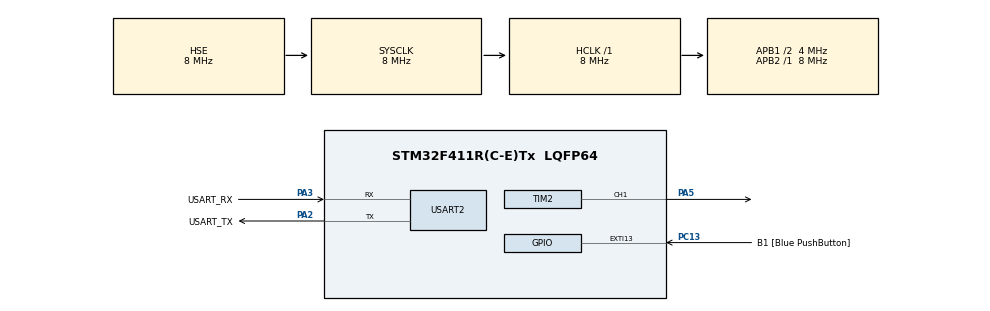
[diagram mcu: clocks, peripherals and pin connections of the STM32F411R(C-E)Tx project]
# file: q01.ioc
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Mcu.Family=STM32F4
Mcu.Name=STM32F411R(C-E)Tx
Mcu.Package=LQFP64
NVIC.PriorityGroup=NVIC_PRIORITYGROUP_0
PA13.GPIO_Label=TMS
PA13.Mode=Serial_Wire
PA13.Signal=SYS_JTMS-SWDIO
PA14.GPIO_Label=TCK
PA14.Mode=Serial_Wire
PA14.Signal=SYS_JTCK-SWCLK
PA2.GPIO_Label=USART_TX
PA2.Mode=Asynchronous
PA2.Signal=USART2_TX
PA3.GPIO_Label=USART_RX
PA3.Mode=Asynchronous
PA3.Signal=USART2_RX
PA5.Signal=S_TIM2_CH1_ETR
PB3.GPIO_Label=SWO
PB3.Signal=SYS_JTDO-SWO
PC13-ANTI_TAMP.GPIO_Label=B1 [Blue PushButton]
PC13-ANTI_TAMP.GPIO_ModeDefaultEXTI=GPIO_MODE_IT_FALLING
PC13-ANTI_TAMP.Signal=GPXTI13
PC14-OSC32_IN.Mode=LSE-External-Oscillator
PC14-OSC32_IN.Signal=RCC_OSC32_IN
PC15-OSC32_OUT.Mode=LSE-External-Oscillator
PC15-OSC32_OUT.Signal=RCC_OSC32_OUT
PH0\ -\ OSC_IN.Mode=HSE-External-Clock-Source
PH0\ -\ OSC_IN.Signal=RCC_OSC_IN
PH1\ -\ OSC_OUT.Mode=HSE-External-Clock-Source
PH1\ -\ OSC_OUT.Signal=RCC_OSC_OUT
ProjectManager.HeapSize=0x200
ProjectManager.StackSize=0x400
ProjectManager.TargetToolchain=STM32CubeIDE
RCC.48MHZClocksFreq_Value=42000000
RCC.AHBFreq_Value=8000000
RCC.APB1CLKDivider=RCC_HCLK_DIV2
RCC.APB1Freq_Value=4000000
RCC.APB1TimFreq_Value=8000000
RCC.APB2Freq_Value=8000000
RCC.APB2TimFreq_Value=8000000
RCC.CortexFreq_Value=8000000
RCC.FLatency-AdvancedSettings=FLASH_LATENCY_0
RCC.HCLKFreq_Value=8000000
RCC.HSE_VALUE=8000000
RCC.HSI_VALUE=16000000
RCC.PLLN=336
RCC.PLLP=RCC_PLLP_DIV4
RCC.PLLSourceVirtual=RCC_PLLSOURCE_HSE
RCC.SYSCLKFreq_VALUE=8000000
RCC.SYSCLKSource=RCC_SYSCLKSOURCE_HSE
RCC.VCOOutputFreq_Value=168000000
SH.S_TIM2_CH1_ETR.0=TIM2_CH1,PWM Generation1 CH1
TIM2.Channel-PWM\ Generation1\ CH1=TIM_CHANNEL_1
TIM2.Period=99
TIM2.Prescaler=7999
TIM2.Pulse-PWM\ Generation1\ CH1=50
USART2.VirtualMode=VM_ASYNC
VP_TIM2_VS_ClockSourceINT.Mode=Internal
board=NUCLEO-F411RE

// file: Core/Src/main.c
/* USER CODE BEGIN Header */
/**
  ******************************************************************************
  * @file           : main.c
  * @brief          : Main program body
  ******************************************************************************
  * @attention
  *
  * Copyright (c) 2024 STMicroelectronics.
  * All rights reserved.
  *
  * This software is licensed under terms that can be found in the LICENSE file
  * in the root directory of this software component.
  * If no LICENSE file comes with this software, it is provided AS-IS.
  *
  ******************************************************************************
  */
/* USER CODE END Header */
#include "main.h"

TIM_HandleTypeDef htim2;

UART_HandleTypeDef huart2;

void SystemClock_Config(void);
static void MX_GPIO_Init(void);
static void MX_USART2_UART_Init(void);
static void MX_TIM2_Init(void);

int main(void)
{

  /* MCU Configuration--------------------------------------------------------*/

  /* Reset of all peripherals, Initializes the Flash interface and the Systick. */
  HAL_Init();

  /* Configure the system clock */
  SystemClock_Config();

  /* Initialize all configured peripherals */
  MX_GPIO_Init();
  MX_USART2_UART_Init();
  MX_TIM2_Init();
  /* USER CODE BEGIN 2 */
  HAL_TIM_PWM_Start(&htim2, TIM_CHANNEL_1);
  /* USER CODE END 2 */
  char message[40];
  char buffer[10];
  int index = 0;
  /* Infinite loop */
  /* USER CODE BEGIN WHILE */
  while (1)
  {
	  HAL_StatusTypeDef status = HAL_UART_Receive(&huart2, buffer, 1, 100);

	  if (status == HAL_OK) {
		  message[index++] = buffer[0];
		  // Echo
		  HAL_UART_Transmit(&huart2, buffer, 1, 100);
		  if (buffer[0] == '\r') {
			  HAL_UART_Transmit(&huart2, "\n", 1, 100);

			  int end = index - 2;

			  for (int i = 0; i <= end / 2; i++) {
				  char tmp = message[i];
				  message[i] = message[end - i];
				  message[end - i] = tmp;
			  }

			  HAL_UART_Transmit(&huart2, message, index, 100);
			  HAL_UART_Transmit(&huart2, "\n", 1, 100);
			  index = 0;
		  }
	  }
    /* USER CODE END WHILE */

  }
}

void SystemClock_Config(void)
{
  RCC_OscInitTypeDef RCC_OscInitStruct = {0};
  RCC_ClkInitTypeDef RCC_ClkInitStruct = {0};

  /** Configure the main internal regulator output voltage
  */
  __HAL_RCC_PWR_CLK_ENABLE();
  __HAL_PWR_VOLTAGESCALING_CONFIG(PWR_REGULATOR_VOLTAGE_SCALE1);

  /** Initializes the RCC Oscillators according to the specified parameters
  * in the RCC_OscInitTypeDef structure.
  */
  RCC_OscInitStruct.OscillatorType = RCC_OSCILLATORTYPE_HSE;
  RCC_OscInitStruct.HSEState = RCC_HSE_BYPASS;
  RCC_OscInitStruct.PLL.PLLState = RCC_PLL_NONE;
  if (HAL_RCC_OscConfig(&RCC_OscInitStruct) != HAL_OK)
  {
    Error_Handler();
  }

  /** Initializes the CPU, AHB and APB buses clocks
  */
  RCC_ClkInitStruct.ClockType = RCC_CLOCKTYPE_HCLK|RCC_CLOCKTYPE_SYSCLK
                              |RCC_CLOCKTYPE_PCLK1|RCC_CLOCKTYPE_PCLK2;
  RCC_ClkInitStruct.SYSCLKSource = RCC_SYSCLKSOURCE_HSE;
  RCC_ClkInitStruct.AHBCLKDivider = RCC_SYSCLK_DIV1;
  RCC_ClkInitStruct.APB1CLKDivider = RCC_HCLK_DIV2;
  RCC_ClkInitStruct.APB2CLKDivider = RCC_HCLK_DIV1;

  if (HAL_RCC_ClockConfig(&RCC_ClkInitStruct, FLASH_LATENCY_0) != HAL_OK)
  {
    Error_Handler();
  }
}

static void MX_TIM2_Init(void)
{

  TIM_ClockConfigTypeDef sClockSourceConfig = {0};
  TIM_MasterConfigTypeDef sMasterConfig = {0};
  TIM_OC_InitTypeDef sConfigOC = {0};

  htim2.Instance = TIM2;
  htim2.Init.Prescaler = 7999;
  htim2.Init.CounterMode = TIM_COUNTERMODE_UP;
  htim2.Init.Period = 99;
  htim2.Init.ClockDivision = TIM_CLOCKDIVISION_DIV1;
  htim2.Init.AutoReloadPreload = TIM_AUTORELOAD_PRELOAD_DISABLE;
  if (HAL_TIM_Base_Init(&htim2) != HAL_OK)
  {
    Error_Handler();
  }
  sClockSourceConfig.ClockSource = TIM_CLOCKSOURCE_INTERNAL;
  if (HAL_TIM_ConfigClockSource(&htim2, &sClockSourceConfig) != HAL_OK)
  {
    Error_Handler();
  }
  if (HAL_TIM_PWM_Init(&htim2) != HAL_OK)
  {
    Error_Handler();
  }
  sMasterConfig.MasterOutputTrigger = TIM_TRGO_RESET;
  sMasterConfig.MasterSlaveMode = TIM_MASTERSLAVEMODE_DISABLE;
  if (HAL_TIMEx_MasterConfigSynchronization(&htim2, &sMasterConfig) != HAL_OK)
  {
    Error_Handler();
  }
  sConfigOC.OCMode = TIM_OCMODE_PWM1;
  sConfigOC.Pulse = 50;
  sConfigOC.OCPolarity = TIM_OCPOLARITY_HIGH;
  sConfigOC.OCFastMode = TIM_OCFAST_DISABLE;
  if (HAL_TIM_PWM_ConfigChannel(&htim2, &sConfigOC, TIM_CHANNEL_1) != HAL_OK)
  {
    Error_Handler();
  }
  HAL_TIM_MspPostInit(&htim2);

}

static void MX_USART2_UART_Init(void)
{

  huart2.Instance = USART2;
  huart2.Init.BaudRate = 115200;
  huart2.Init.WordLength = UART_WORDLENGTH_8B;
  huart2.Init.StopBits = UART_STOPBITS_1;
  huart2.Init.Parity = UART_PARITY_NONE;
  huart2.Init.Mode = UART_MODE_TX_RX;
  huart2.Init.HwFlowCtl = UART_HWCONTROL_NONE;
  huart2.Init.OverSampling = UART_OVERSAMPLING_16;
  if (HAL_UART_Init(&huart2) != HAL_OK)
  {
    Error_Handler();
  }

}

static void MX_GPIO_Init(void)
{
  GPIO_InitTypeDef GPIO_InitStruct = {0};

  /* GPIO Ports Clock Enable */
  __HAL_RCC_GPIOC_CLK_ENABLE();
  __HAL_RCC_GPIOH_CLK_ENABLE();
  __HAL_RCC_GPIOA_CLK_ENABLE();
  __HAL_RCC_GPIOB_CLK_ENABLE();

  /*Configure GPIO pin : B1_Pin */
  GPIO_InitStruct.Pin = B1_Pin;
  GPIO_InitStruct.Mode = GPIO_MODE_IT_FALLING;
  GPIO_InitStruct.Pull = GPIO_NOPULL;
  HAL_GPIO_Init(B1_GPIO_Port, &GPIO_InitStruct);

}

void Error_Handler(void)
{
  __disable_irq();
  while (1)
  {
  }
}
